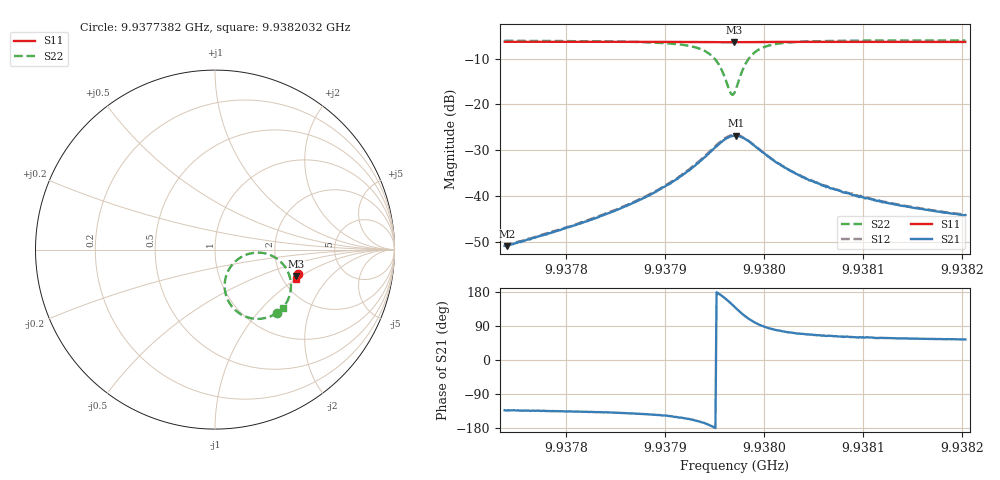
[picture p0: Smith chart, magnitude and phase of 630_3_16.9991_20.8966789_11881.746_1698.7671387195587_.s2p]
#  HZ  S  RI  R  50.00
! Rohde & Schwarz Vector Network Analyzer
! Rohde-Schwarz,ZNB20-2Port,1311601062101988,3.16
! Created: UTC 3/20/2024, 11:20:19 PM
! freq[Hz]  re:S11  im:S11  re:S21  im:S21  re:S12  im:S12  re:S22  im:S22
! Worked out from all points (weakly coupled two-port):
!   401 points, 9.9377382 GHz to 9.9382032 GHz, reference 50 ohm
!   highest |S21| = -26.81 dB at 9.9379718 GHz (marker M1); lowest = -50.9 dB at 9.9377405 GHz (marker M2)
!   lowest |S11| = -6.5 dB at 9.9379695 GHz (marker M3), VSWR 2.81, Z = 120 - j46.2 ohm
!   |S11| at or under -10 dB: nowhere
!   |S22| runs from -17.9 to -6.1 dB; largest |S21 - S12| = 0.0022
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9.93773815e9  0.4619 -0.137  -0.00194 -0.00211  -0.00198 -0.00209  0.3478 -0.3507
9.93774048e9  0.4619 -0.1373  -0.00195 -0.00208  -0.00203 -0.00215  0.3472 -0.3509
9.93781604e9  0.4598 -0.1425  -0.00373 -0.00353  -0.00381 -0.00354  0.3274 -0.3634
9.93786254e9  0.4582 -0.1456  -0.00615 -0.00506  -0.0063 -0.00508  0.3036 -0.3743
9.93789393e9  0.4571 -0.1479  -0.00962 -0.00664  -0.00994 -0.00657  0.2719 -0.3833
9.93792532e9  0.4555 -0.1503  -0.0178 -0.00782  -0.0184 -0.00769  0.2021 -0.3828
9.93794276e9  0.4536 -0.1513  -0.0279 -0.00519  -0.0287 -0.00469  0.1244 -0.3471
9.93795206e9  0.4524 -0.1515  -0.0349 0.000839  -0.036 0.00185  0.0746 -0.2869
9.93795904e9  0.4516 -0.1509  -0.0395 0.00979  -0.0402 0.0113  0.0538 -0.2079
9.93796601e9  0.4512 -0.1501  -0.039 0.0222  -0.0391 0.0239  0.0781 -0.1097
9.9379695e9  0.4512 -0.1494  -0.0359 0.0278  -0.0357 0.03  0.1128 -0.0662
9.93797066e9  0.4514 -0.1492  -0.0344 0.03  -0.034 0.0318  0.1271 -0.0543
9.93797182e9  0.4514 -0.149  -0.0329 0.0316  -0.0324 0.0335  0.1427 -0.0434
9.93797764e9  0.4523 -0.1486  -0.0235 0.0371  -0.0224 0.0384  0.2265 -0.0172
9.93798229e9  0.4531 -0.1486  -0.0159 0.0379  -0.0147 0.0389  0.2882 -0.0234
9.9379881e9  0.4538 -0.149  -0.00816 0.0362  -0.00693 0.0368  0.3459 -0.051
9.93799391e9  0.4543 -0.1496  -0.00264 0.0328  -0.00172 0.0333  0.3823 -0.0854
9.93801251e9  0.4552 -0.1518  0.00455 0.0228  0.00506 0.023  0.4215 -0.1757
9.93804855e9  0.4547 -0.1552  0.00574 0.0135  0.00625 0.0134  0.4158 -0.2543
9.9380811e9  0.4538 -0.1577  0.00534 0.00949  0.00553 0.00977  0.4043 -0.284
9.93812644e9  0.4524 -0.161  0.00447 0.0071  0.00464 0.00708  0.3922 -0.3052
9.93820317e9  0.4502 -0.1659  0.00364 0.00504  0.00376 0.00503  0.3785 -0.3234
